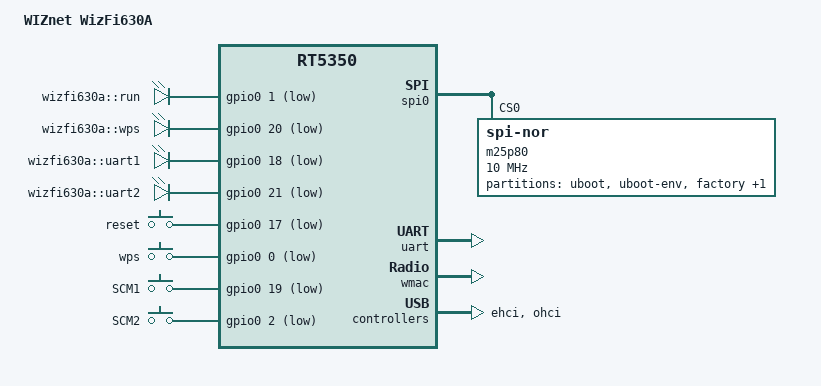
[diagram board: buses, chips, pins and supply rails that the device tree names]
/dts-v1/;

#include "rt5350.dtsi"

/ {
	compatible = "wizfi630a", "ralink,rt5350-soc";
	model = "WIZnet WizFi630A";

	chosen {
		bootargs = "console=ttyS1,115200";
	};

	gpio-export {
		compatible = "gpio-export";
		#size-cells = <0>;
	};

	gpio-leds {
		compatible = "gpio-leds";

		run {
			label = "wizfi630a::run";
			gpios = <&gpio0 1 1>;
		};

		wps {
			label = "wizfi630a::wps";
			gpios = <&gpio0 20 1>;
		};

		uart1 {
			label = "wizfi630a::uart1";
			gpios = <&gpio0 18 1>;
		};

		uart2 {
			label = "wizfi630a::uart2";
			gpios = <&gpio0 21 1>;
		};
	};

	gpio-keys-polled {
		compatible = "gpio-keys-polled";
		#address-cells = <1>;
		#size-cells = <0>;
		poll-interval = <20>;

		reset {
			label = "reset";
			gpios = <&gpio0 17 1>;
			linux,code = <0x198>;
		};

		wps {
			label = "wps";
			gpios = <&gpio0 0 1>;
			linux,code = <0x211>;
		};
		
		scm1 {
			label = "SCM1";
			gpios = <&gpio0 19 1>;
			linux,code = <0x100>;
		};

		scm2 {
			label = "SCM2";
			gpios = <&gpio0 2 1>;
			linux,code = <0x101>;
		};
	};
};

&gpio1 {
	status = "okay";
};

&spi0 {
	status = "okay";

	m25p80@0 {
		#address-cells = <1>;
		#size-cells = <1>;
		compatible = "jedec,spi-nor";
		reg = <0>;
		linux,modalias = "m25p80", "w25q128";
		spi-max-frequency = <10000000>;

		partition@0 {
			#size-cells = <1>;
			label = "uboot";
			reg = <0x0 0x30000>;
			read-only;
		};

		partition@30000 {
			#size-cells = <1>;
			label = "uboot-env";
			reg = <0x30000 0x10000>;
			read-only;
		};

		factory: partition@40000 {
			#size-cells = <1>;
			label = "factory";
			reg = <0x40000 0x10000>;
			read-only;
		};

		partition@50000 {
			#size-cells = <1>;
			label = "firmware";
			reg = <0x50000 0xfb0000>;
		};
	};
};

&uart {
	compatible = "ralink,mt7620a-uart", "ralink,rt2880-uart", "ns16550a";
	reg = <0x500 0x100>;
	resets = <&rstctrl 12>;
	reset-names = "uart";
	interrupt-parent = <&intc>;
	interrupts = <5>;
	reg-shift = <2>;
	pinctrl-names = "default";
	pinctrl-0 = <&uartf_pins>;
	status = "okay";
};

&uartlite {
	compatible = "ralink,mt7620a-uart", "ralink,rt2880-uart", "ns16550a";
	reg = <0xc00 0x100>;
	resets = <&rstctrl 19>;
	reset-names = "uartl";
	interrupt-parent = <&intc>;
	interrupts = <12>;
	reg-shift = <2>;
	pinctrl-names = "default";
	pinctrl-0 = <&uartlite_pins>;
};

&pinctrl {
	state_default: pinctrl0 {
		gpio {
			ralink,group = "i2c", "jtag" ;
			ralink,function = "gpio";
		};
	};

	uartf_gpio_pins: uartf_gpio {
		uartf_gpio {
			ralink,group = "uartf";
			ralink,function = "uartf";
		};
	};

	uartlite_pins: uartlite {
		uart {
			ralink,group = "uartlite";
			ralink,function = "uartlite";
		};
	};
};

&ethernet {
	mtd-mac-address = <&factory 0x4>;
};

&esw {
	mediatek,portmap = <0x17>;
};

&wmac {
	ralink,mtd-eeprom = <&factory 0>;
};

&ehci {
	status = "okay";
};

&ohci {
	status = "okay";
};
